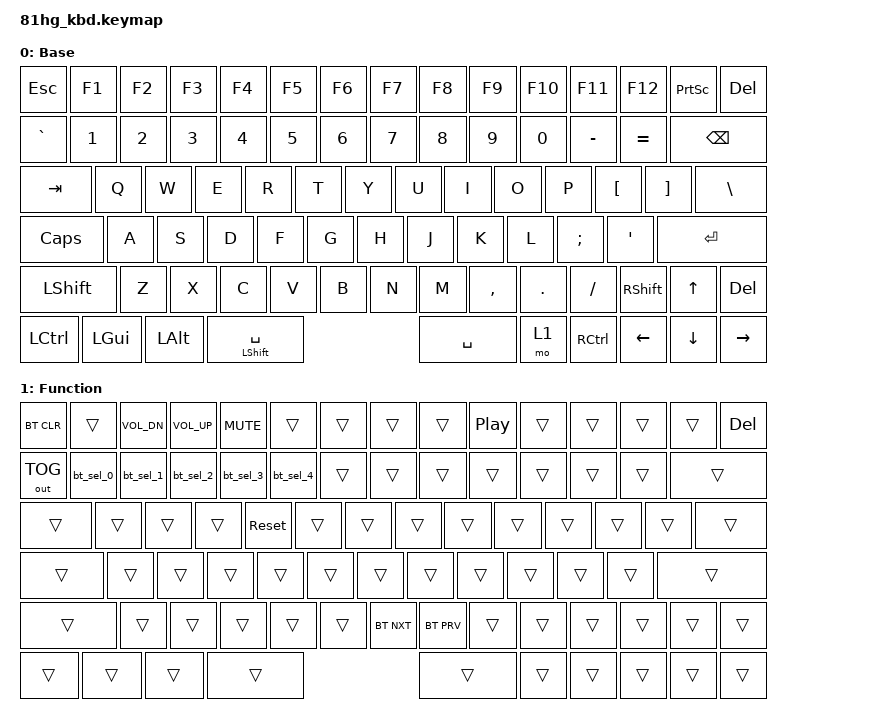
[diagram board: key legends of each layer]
#define ZMK_BEHAVIORS_KEEP_ALL

#include <dt-bindings/input/input-event-codes.h>
#include <behaviors.dtsi>
#include <dt-bindings/zmk/keys.h>
#include <dt-bindings/zmk/bt.h>
#include <dt-bindings/zmk/mouse.h>
#include <dt-bindings/zmk/outputs.h>

/ {
    behaviors {
        space_ht: space_hold_tap {
            compatible = "zmk,behavior-hold-tap";
            #binding-cells = <2>;
            flavor = "balanced";
            tapping-term-ms = <200>;
            bindings = <&kp>, <&kp>;
        };

        js_click: joystick_click {
            compatible = "zmk,behavior-mod-morph";
            #binding-cells = <0>;
            bindings = <&js_inner>, <&mkp RCLK>;
            mods = <(MOD_LSFT)>;
        };

        js_inner: joystick_inner {
            compatible = "zmk,behavior-mod-morph";
            #binding-cells = <0>;
            bindings = <&mkp LCLK>, <&mkp MCLK>;
            mods = <(MOD_LCTL|MOD_RCTL)>;
        };
    };

    macros {
        bt_sel_0: bt_sel_0 {
            compatible = "zmk,behavior-macro";
            #binding-cells = <0>;
            bindings = <&out OUT_BLE>, <&bt BT_SEL 0>;
        };
        bt_sel_1: bt_sel_1 {
            compatible = "zmk,behavior-macro";
            #binding-cells = <0>;
            bindings = <&out OUT_BLE>, <&bt BT_SEL 1>;
        };
        bt_sel_2: bt_sel_2 {
            compatible = "zmk,behavior-macro";
            #binding-cells = <0>;
            bindings = <&out OUT_BLE>, <&bt BT_SEL 2>;
        };
        bt_sel_3: bt_sel_3 {
            compatible = "zmk,behavior-macro";
            #binding-cells = <0>;
            bindings = <&out OUT_BLE>, <&bt BT_SEL 3>;
        };
        bt_sel_4: bt_sel_4 {
            compatible = "zmk,behavior-macro";
            #binding-cells = <0>;
            bindings = <&out OUT_BLE>, <&bt BT_SEL 4>;
        };
    };

    combos {
        compatible = "zmk,combos";

        combo_bootloader {
            timeout-ms = <50>;
            key-positions = <0 14>;
            bindings = <&bootloader>;
            layers = <1>;
        };

        studio_unlock {
            timeout-ms = <50>;
            key-positions = <0 1>;
            bindings = <&studio_unlock>;
        };
    };

    keymap {
        compatible = "zmk,keymap";

        default_layer {
            display-name = "Base";
            bindings = <
&kp ESC   &kp F1    &kp F2    &kp F3    &kp F4    &kp F5    &kp F6    &kp F7    &kp F8    &kp F9    &kp F10   &kp F11   &kp F12   &kp PSCRN &kp DEL
&kp GRAVE &kp N1    &kp N2    &kp N3    &kp N4    &kp N5    &kp N6    &kp N7    &kp N8    &kp N9    &kp N0    &kp MINUS &kp EQUAL &kp BSPC
&kp TAB   &kp Q     &kp W     &kp E     &kp R     &kp T     &kp Y     &kp U     &kp I     &kp O     &kp P     &kp LBKT  &kp RBKT  &kp BSLH
&kp CAPS  &kp A     &kp S     &kp D     &kp F     &kp G     &kp H     &kp J     &kp K     &kp L     &kp SEMI  &kp SQT   &kp RET
&kp LSHFT &kp Z     &kp X     &kp C     &kp V     &kp B     &kp N     &kp M     &kp COMMA &kp DOT   &kp SLASH &kp RSHFT &kp UP    &kp DEL
&kp LCTRL &kp LGUI  &kp LALT  &space_ht LSHFT SPACE &kp SPACE &mo 1     &kp RCTRL &kp LEFT  &kp DOWN  &kp RIGHT
            >;
        };

        function_layer {
            display-name = "Function";
            bindings = <
&bt BT_CLR  &trans &kp C_VOL_DN &kp C_VOL_UP &kp C_MUTE &trans  &trans     &trans     &trans &kp C_PLAY_PAUSE &trans &trans &trans &trans     &kp DEL
&out OUT_TOG &bt_sel_0       &bt_sel_1      &bt_sel_2   &bt_sel_3   &bt_sel_4   &trans   &trans     &trans &trans &trans &trans &trans &trans
&trans &trans       &trans       &trans       &sys_reset   &trans       &trans     &trans     &trans &trans &trans &trans &trans &trans
&trans &trans       &trans       &trans       &trans       &trans       &trans     &trans     &trans &trans &trans &trans &trans
&trans &trans       &trans       &trans       &trans       &trans       &bt BT_NXT &bt BT_PRV &trans &trans &trans &trans &trans &trans
&trans &trans       &trans       &trans       &trans       &trans       &trans     &trans     &trans &trans
            >;
        };
    };

};
